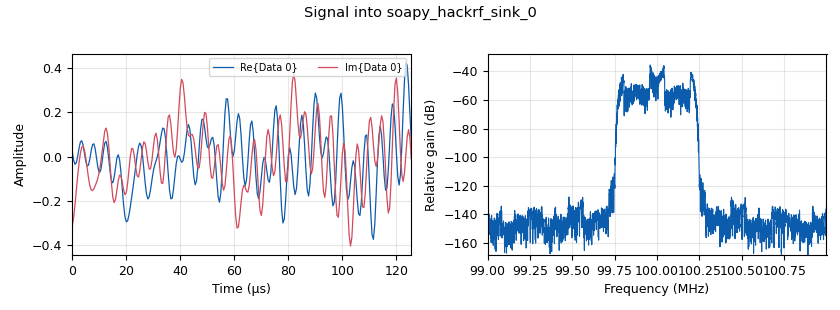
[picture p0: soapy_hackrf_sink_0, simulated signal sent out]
options:
  parameters:
    generate_options: no_gui
    id: lab02_wbfmtx_signalsource
    output_language: python
    title: Not titled yet
  states: {}

blocks:
- name: audio_rate
  id: variable
  parameters:
    value: '48000'
  states: {}
- name: quad_rate
  id: variable
  parameters:
    value: '480000'
  states: {}
- name: samp_rate
  id: variable
  parameters:
    value: 2e6
  states: {}
- name: tx_freq
  id: variable
  parameters:
    value: 100e6
  states: {}
- name: tx_gain
  id: variable
  parameters:
    value: '12'
  states: {}
- name: analog_sig_source_x_0
  id: analog_sig_source_x
  parameters:
    amp: '0.5'
    freq: '1000'
    offset: '0'
    phase: '0'
    samp_rate: audio_rate
    type: float
    waveform: analog.GR_COS_WAVE
  states: {}
- name: analog_wfm_tx_0
  id: analog_wfm_tx
  parameters:
    audio_rate: audio_rate
    fh: '-1.0'
    max_dev: 75e3
    quad_rate: quad_rate
    tau: '75e-6'
  states: {}
- name: blocks_multiply_const_vxx_0
  id: blocks_multiply_const_vxx
  parameters:
    const: '0.3'
    type: complex
  states: {}
- name: rational_resampler_xxx_0
  id: rational_resampler_xxx
  parameters:
    decim: '6'
    interp: '25'
    type: ccc
  states: {}
- name: soapy_hackrf_sink_0
  id: soapy_hackrf_sink
  parameters:
    bandwidth: samp_rate
    center_freq: tx_freq
    samp_rate: samp_rate
    type: fc32
    vga: tx_gain
  states: {}

connections:
- [analog_sig_source_x_0, '0', analog_wfm_tx_0, '0']
- [analog_wfm_tx_0, '0', rational_resampler_xxx_0, '0']
- [blocks_multiply_const_vxx_0, '0', soapy_hackrf_sink_0, '0']
- [rational_resampler_xxx_0, '0', blocks_multiply_const_vxx_0, '0']

metadata:
  file_format: 1
  grc_version: 3.10.12.0
